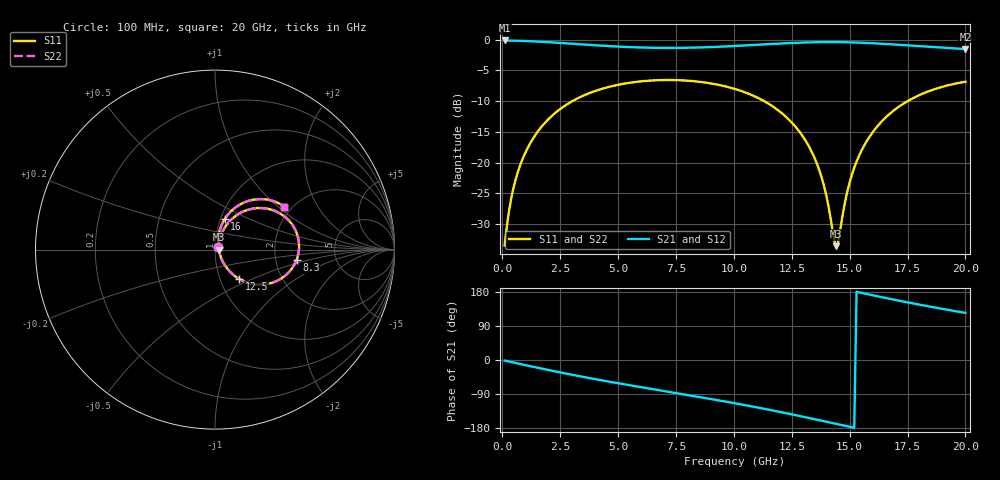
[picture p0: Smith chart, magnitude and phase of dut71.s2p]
! Touchstone file exported from HFSS 2026.1.0
!  File:  C:/ffzhzh/LocalFiles/Ansys_Project_Files/temp_train_TSV_RDL_71_1782969814_6388.aedt
!  Generated:  01:33:12 PM Jul  2, 2026
!  Design:  TSV_RDL
!  Project:  temp_train_TSV_RDL_71_1782969814_6388
! Variables:
!  h_bsmrdl = 5.7um
!  h_ox = 20um
!  h_rdl = 5um
!  h_sub = 75.88um
!  h_tmrdl = 4.64um
!  h_tsv = 75.88um
!  h_via = 3um
!  l_bsmrdl = 285.23um
!  l_sub = 3748.58um
!  l_tmrdl = 599.77um
!  m_sub = 200um
!  pitch = 41.36um
!  r_tsv = 12.45um
!  s_tmrdl = 10um
!  w_bsmrdl = 17.01um
!  w_sub = 500um
!  w_tmrdl = 14.26um
!  x_tsv_center1 = 606.9um
!  x_tsv_center2 = 909.14um
!  x_tsv_center3 = 1523.17um
!  x_tsv_center4 = 1825.41um
!  x_tsv_center5 = 2439.44um
!  x_tsv_center6 = 2741.68um
# GHz S MA R 50.000000
! Terminal data exported
! Port[1] = TM_RDL1_1_T1
! Port[2] = TM_RDL5_1_T1
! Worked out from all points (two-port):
!   200 points, 100 MHz to 20 GHz, reference 50 ohm
!   highest |S21| = -0.15 dB at 100 MHz (marker M1); lowest = -1.5 dB at 20 GHz (marker M2)
!   |S21| within 3 dB of the highest: start of sweep to end of sweep
!   lowest |S11| = -33.6 dB at 14.4 GHz (marker M3), VSWR 1.04, Z = 52.1 + j0.0346 ohm
!   |S11| at or under -10 dB: start of sweep to 3.028 GHz; 11.31 GHz to 17.51 GHz (6.203 GHz wide, 43.1 % of centre)
!   |S22| runs from -33.5 to -6.6 dB; largest |S21 - S12| = 2.7e-14
!   S11 on the Smith chart (normalised r, x): 100 MHz: 1.03, +0.03; 8.3 GHz: 2.63, -0.38; 12.5 GHz: 1.23, -0.42; 16 GHz: 1.05, +0.37; 20 GHz: 1.83, +1.10
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0.1  0.02126 36.0  0.983 -1.4  0.983 -1.4  0.02126 36.0
! Gamma 0 0 0 0
! Port Impedance 50 0 50 0
0.3  0.04166 60.3  0.9813 -4.2  0.9813 -4.2  0.04166 60.3
0.5  0.06423 66.1  0.9793 -6.9  0.9793 -6.9  0.06423 66.1
1.1  0.1321 66.2  0.9709 -14.9  0.9709 -14.9  0.1321 66.2
2.1  0.2359 56.7  0.9492 -27.8  0.9492 -27.8  0.2359 56.7
3.5  0.3503 41.3  0.9114 -44.7  0.9114 -44.7  0.3503 41.3
6.8  0.468 7.6  0.8559 -80.0  0.8559 -80.0  0.468 7.6
8.3  0.4582 -7.1  0.8599 -95.4  0.8599 -95.4  0.4582 -7.1
10.1  0.3939 -25.4  0.8872 -114.7  0.8872 -114.7  0.394 -25.4
11.4  0.3089 -39.2  0.9154 -129.8  0.9154 -129.8  0.3089 -39.1
12.5  0.2118 -50.6  0.9377 -143.4  0.9377 -143.4  0.2118 -50.6
13.4  0.1185 -57.5  0.9499 -155.0  0.9499 -155.0  0.1185 -57.4
13.9  0.06403 -55.1  0.953 -161.6  0.953 -161.6  0.06407 -54.9
14.4  0.02096 0.9  0.9531 -168.3  0.9531 -168.3  0.02112 1.0
14.5  0.02235 30.3  0.9528 -169.6  0.9528 -169.6  0.02251 30.2
14.8  0.04768 68.7  0.951 -173.6  0.951 -173.6  0.04777 68.5
15.1  0.07995 75.5  0.948 -177.6  0.948 -177.6  0.08001 75.4
15.5  0.1238 75.8  0.9425 177.2  0.9425 177.2  0.1238 75.7
16  0.177 72.4  0.9333 170.7  0.9333 170.7  0.1771 72.4
16.7  0.2463 65.8  0.9173 161.8  0.9173 161.8  0.2464 65.7
18.1  0.3597 51.1  0.8802 145.1  0.8802 145.1  0.3598 51.1
20  0.454 31.8  0.8386 124.3  0.8386 124.3  0.454 31.8
